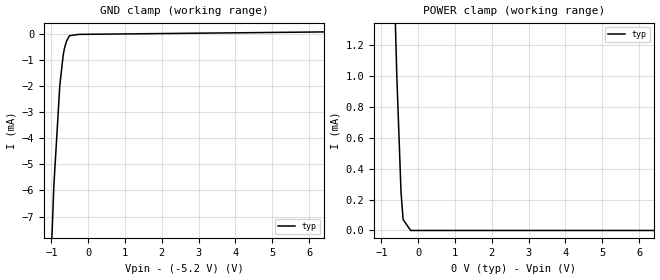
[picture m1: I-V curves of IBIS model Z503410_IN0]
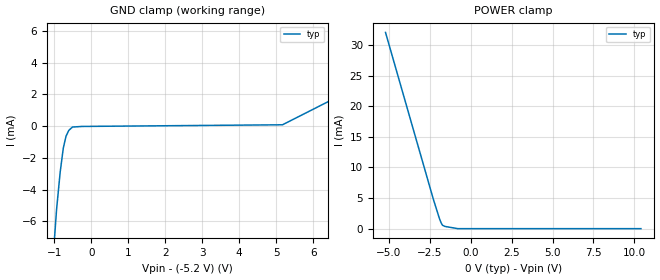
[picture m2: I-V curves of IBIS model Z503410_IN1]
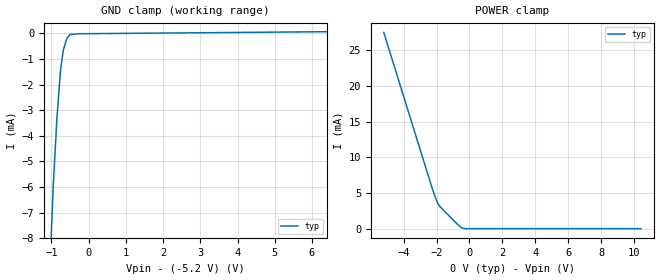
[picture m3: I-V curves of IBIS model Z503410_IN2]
| YOU ARE ONLY AUTHORIZED TO USE THIS SOFTWARE
| ACCORDING TO LICENSOR'S LICENSE RESTRICTIONS.
[IBIS Ver] 3.1
[File Name] mc10e160fn.ibs
[File Rev] 2.0
[Source] Measured and created by ICX Technology
[Date] Friday 7/14/00 9:07:49 AM
[Copyright]
| (C) COPYRIGHT 1993-2000
| MENTOR GRAPHICS CORPORATION
| ICX STANDARD LIBRARY, ICX PROJECT MODELING,
| ICX CUSTOM MODELING, ICX VENDOR MODEL
| ALL RIGHTS RESERVED.
| THE FOLLOWING ARE TRADEMARKS OR SERVICE MARKS OF
| MENTOR GRAPHICS CORPORATION:ICX (R), ICX STANDARD
| LIBRARY(R), ICX PROJECT MODELING(R), ICX CUSTOM
| MODELING(R), qualityIBIS(TM), MODELVIEWER(TM),
| AND MODELEDITOR(TM)
| ALL COPIES OF SOFTWARE, INCLUDING BUT NOT LIMITED TO
| ANY MODIFICATIONS, ENHANCEMENTS OR DERIVATIVE WORKS,
| MUST CONTAIN ALL MENTOR GRAPHICS CORPORATION'S
| NOTICES AND LEGENDS, INCLUDING THOSE EMBEDDED IN
| SOFTWARE AND THOSE AFFIXED TO SOFTWARE MEDIUM
| AND CONTAINER, AS RECEIVED FROM MENTOR GRAPHICS
| CORPORATION.
|  ZAP Model Builder 2.7
[Component] MC10E160FN
[Manufacturer] OnSemiconductor
[Package]
| variable   typ   min   max
R_pkg  .083ohms NA NA
L_pkg  4.299nH NA NA
C_pkg  1.045pF NA NA
[Pin] signal_name  model_name  R_pin  L_pin C_pin
1 VEE POWER .08 3.94n .925p
2 D8 Z503410_IN0 .082 4.14n .995p
3 D9 Z503410_IN0 .084 4.354n 1.065p
4 D10 Z503410_IN0 .086 4.583n 1.135p
5 D11 Z503410_IN0 .086 4.583n 1.135p
6 _HOLD Z503410_IN1 .084 4.354n 1.065p
7 S-IN Z503410_IN2 .082 4.14n .995p
8 SHIFT Z503410_IN3 .08 3.94n .925p
9 CLK1 Z503410_IN4 .082 4.14n .995p
10 CLK2 Z503410_IN4 .084 4.354n 1.065p
11 R Z503410_IN5 .086 4.583n 1.135p
12 NC NC .086 4.583n 1.135p
13 VCCO POWER .084 4.354n 1.065p
14 Y Z503410_OUT0 .082 4.14n .995p
15 _Y Z503410_OUT1 .08 3.94n .925p
16 VCC POWER .082 4.14n .995p
17 Q Z503410_OUT0 .084 4.354n 1.065p
18 _Q Z503410_OUT1 .086 4.583n 1.135p
19 VCCO POWER .086 4.583n 1.135p
20 _EN Z503410_IN6 .084 4.354n 1.065p
21 D0 Z503410_IN0 .082 4.14n .995p
22 D1 Z503410_IN0 .08 3.94n .925p
23 D2 Z503410_IN0 .082 4.14n .995p
24 D3 Z503410_IN0 .084 4.354n 1.065p
25 D4 Z503410_IN0 .086 4.583n 1.135p
26 D5 Z503410_IN0 .086 4.583n 1.135p
27 D6 Z503410_IN0 .084 4.354n 1.065p
28 D7 Z503410_IN0 .082 4.14n .995p
| Models and submodels in the file (9): Z503410_IN0 (Input_ECL), Z503410_IN1 (Input_ECL), Z503410_IN2 (Input_ECL), Z503410_IN3 (Input_ECL), Z503410_IN4 (Input_ECL), Z503410_IN5 (Input_ECL), Z503410_IN6 (Input_ECL), Z503410_OUT0 (Output_ECL), Z503410_OUT1 (Output_ECL)
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| (C) COPYRIGHT 1993-2000
| MENTOR GRAPHICS CORPORATION
| ICX STANDARD LIBRARY, ICX PROJECT MODELING,
| ICX CUSTOM MODELING, ICX VENDOR MODEL
| ALL RIGHTS RESERVED.
| THE FOLLOWING ARE TRADEMARKS OR SERVICE MARKS OF
| MENTOR GRAPHICS CORPORATION:ICX (R), ICX STANDARD
| LIBRARY(R), ICX PROJECT MODELING(R), ICX CUSTOM
| MODELING(R), qualityIBIS(TM), MODELVIEWER(TM),
| AND MODELEDITOR(TM)
| ALL COPIES OF SOFTWARE, INCLUDING BUT NOT LIMITED TO
| ANY MODIFICATIONS, ENHANCEMENTS OR DERIVATIVE WORKS,
| MUST CONTAIN ALL MENTOR GRAPHICS CORPORATION'S
| NOTICES AND LEGENDS, INCLUDING THOSE EMBEDDED IN
| SOFTWARE AND THOSE AFFIXED TO SOFTWARE MEDIUM
| AND CONTAINER, AS RECEIVED FROM MENTOR GRAPHICS
| CORPORATION.
| Model Application Version 1.89 2/18/99.
[Model] Z503410_IN0
Model_type Input_ECL
Vinl = -1.480V
Vinh = -1.130V
C_comp 4.000pF NA NA
| variable typ   min   max
[Voltage Range] -5.200V NA NA
[GND Clamp Reference] -5.200V NA NA
[POWER Clamp Reference] 0.000V NA NA
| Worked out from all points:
|   GND clamp passes 1 mA (typ) near -0.69 V on its own axis
[GND Clamp]
-5.2V     -226.4mA   NA         NA
-1.09V    -11.67mA   NA         NA
-932mV    -5.798mA   NA         NA
-771mV    -1.967mA   NA         NA
-680mV    -826.3uA   NA         NA
-645mV    -552.8uA   NA         NA
-588mV    -274.2uA   NA         NA
-508mV    -69uA      NA         NA
-254mV    -19.96uA   NA         NA
10.4V     130.4uA    NA         NA
[POWER Clamp]
-5.2V     32.79mA    NA         NA
-2.104V   12.02mA    NA         NA
-1.089V   5.415mA    NA         NA
-580.3mV  993.8uA    NA         NA
-466.6mV  248.2uA    NA         NA
-409.5mV  70.61uA    NA         NA
-204.8mV  0A         NA         NA
10.4V     0A         NA         NA
| (C) COPYRIGHT 1993-2000
| MENTOR GRAPHICS CORPORATION
| ICX STANDARD LIBRARY, ICX PROJECT MODELING,
| ICX CUSTOM MODELING, ICX VENDOR MODEL
| ALL RIGHTS RESERVED.
| THE FOLLOWING ARE TRADEMARKS OR SERVICE MARKS OF
| MENTOR GRAPHICS CORPORATION:ICX (R), ICX STANDARD
| LIBRARY(R), ICX PROJECT MODELING(R), ICX CUSTOM
| MODELING(R), qualityIBIS(TM), MODELVIEWER(TM),
| AND MODELEDITOR(TM)
| ALL COPIES OF SOFTWARE, INCLUDING BUT NOT LIMITED TO
| ANY MODIFICATIONS, ENHANCEMENTS OR DERIVATIVE WORKS,
| MUST CONTAIN ALL MENTOR GRAPHICS CORPORATION'S
| NOTICES AND LEGENDS, INCLUDING THOSE EMBEDDED IN
| SOFTWARE AND THOSE AFFIXED TO SOFTWARE MEDIUM
| AND CONTAINER, AS RECEIVED FROM MENTOR GRAPHICS
| CORPORATION.
| Model Application Version 1.89 2/18/99.
[Model] Z503410_IN1
Model_type Input_ECL
Vinl = -1.480V
Vinh = -1.130V
C_comp 4.000pF NA NA
| variable typ   min   max
[Voltage Range] -5.200V NA NA
[GND Clamp Reference] -5.200V NA NA
[POWER Clamp Reference] 0.000V NA NA
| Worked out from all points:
|   GND clamp passes 1 mA (typ) near -0.72 V on its own axis
|   POWER clamp passes 1 mA (typ) near -1.81 V on its own axis
[GND Clamp]
-5.2V     -186.4mA   NA         NA
-1.118V   -11.06mA   NA         NA
-938mV    -5.234mA   NA         NA
-840mV    -2.877mA   NA         NA
-757mV    -1.387mA   NA         NA
-683mV    -633uA     NA         NA
-608mV    -265.4uA   NA         NA
-508mV    -53.48uA   NA         NA
-254mV    -16.65uA   NA         NA
5.171V    87.83uA    NA         NA
10.4V     6.256mA    NA         NA
[POWER Clamp]
-5.2V     32.09mA    NA         NA
-2.285V   4.874mA    NA         NA
-1.904V   1.634mA    NA         NA
-1.796V   905.3uA    NA         NA
-1.717V   551.5uA    NA         NA
-1.563V   363.1uA    NA         NA
-781.5mV  0A         NA         NA
10.4V     0A         NA         NA
| (C) COPYRIGHT 1993-2000
| MENTOR GRAPHICS CORPORATION
| ICX STANDARD LIBRARY, ICX PROJECT MODELING,
| ICX CUSTOM MODELING, ICX VENDOR MODEL
| ALL RIGHTS RESERVED.
| THE FOLLOWING ARE TRADEMARKS OR SERVICE MARKS OF
| MENTOR GRAPHICS CORPORATION:ICX (R), ICX STANDARD
| LIBRARY(R), ICX PROJECT MODELING(R), ICX CUSTOM
| MODELING(R), qualityIBIS(TM), MODELVIEWER(TM),
| AND MODELEDITOR(TM)
| ALL COPIES OF SOFTWARE, INCLUDING BUT NOT LIMITED TO
| ANY MODIFICATIONS, ENHANCEMENTS OR DERIVATIVE WORKS,
| MUST CONTAIN ALL MENTOR GRAPHICS CORPORATION'S
| NOTICES AND LEGENDS, INCLUDING THOSE EMBEDDED IN
| SOFTWARE AND THOSE AFFIXED TO SOFTWARE MEDIUM
| AND CONTAINER, AS RECEIVED FROM MENTOR GRAPHICS
| CORPORATION.
| Model Application Version 1.89 2/18/99.
[Model] Z503410_IN2
Model_type Input_ECL
Vinl = -1.480V
Vinh = -1.130V
C_comp 4.000pF NA NA
| variable typ   min   max
[Voltage Range] -5.200V NA NA
[GND Clamp Reference] -5.200V NA NA
[POWER Clamp Reference] 0.000V NA NA
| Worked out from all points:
|   GND clamp passes 1 mA (typ) near -0.72 V on its own axis
[GND Clamp]
-5.2V     -212.5mA   NA         NA
-1.097V   -11.12mA   NA         NA
-951mV    -5.919mA   NA         NA
-855mV    -3.341mA   NA         NA
-757mV    -1.442mA   NA         NA
-683mV    -662.5uA   NA         NA
-589mV    -214uA     NA         NA
-508mV    -51.93uA   NA         NA
-254mV    -20.93uA   NA         NA
10.4V     106.6uA    NA         NA
[POWER Clamp]
-5.2V     27.48mA    NA         NA
-2.266V   5.677mA    NA         NA
-2.06V    4.294mA    NA         NA
-1.908V   3.478mA    NA         NA
-1.777V   3.051mA    NA         NA
-742.3mV  641.8uA    NA         NA
-468.6mV  92.51uA    NA         NA
-234.3mV  0A         NA         NA
10.4V     0A         NA         NA
